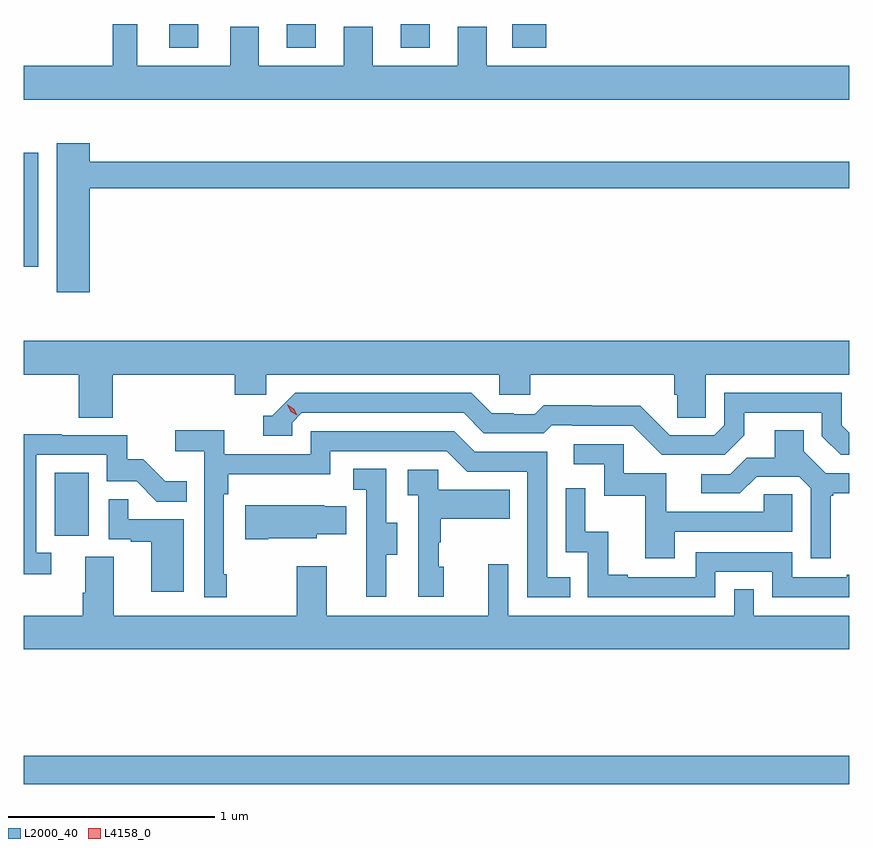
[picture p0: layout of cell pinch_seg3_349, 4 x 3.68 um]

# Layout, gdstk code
import gdstk
lib = gdstk.Library(unit=1e-6, precision=1e-09)
def R(c, l, rs):  # rectangles x0, y0, x1, y1
    for r in rs: c.add(gdstk.rectangle(r[:2], r[2:], *l))
def P(c, l, *ps):  # polygons
    for p in ps: c.add(gdstk.Polygon(p, *l))
L2000_40 = (2000, 40)
L4158_0 = (4158, 0)

pinch_seg3_349 = lib.new_cell('pinch_seg3_349')
R(pinch_seg3_349, L2000_40, [(972.806,701.596,976.806,701.732), (972.956,702.798,973.12,703.105), (972.806,704.103,972.876,704.654), (973.511,705.165,973.651,705.279), (974.081,705.165,974.221,705.279), (974.633,705.165,974.773,705.279), (975.173,705.165,975.338,705.279)])
P(pinch_seg3_349, L2000_40, [(976.806,705.076),(975.049,705.076),(975.049,705.266),(974.909,705.266),(974.909,705.076),(974.497,705.076),(974.497,705.266),(974.357,705.266),(974.357,705.076),(973.945,705.076),(973.945,705.266),(973.806,705.266),(973.806,705.076),(973.357,705.076),(973.357,705.279),(973.236,705.279),(973.236,705.076),(972.806,705.076),(972.806,704.912),(976.806,704.912)],
  [(973.126,704.482),(976.806,704.482),(976.806,704.611),(973.126,704.611),(973.126,704.701),(972.965,704.701),(972.965,703.98),(973.126,703.98)],
  [(973.238,703.58),(973.829,703.58),(973.829,703.482),(973.98,703.482),(973.98,703.58),(975.111,703.58),(975.111,703.482),(975.261,703.482),(975.261,703.58),(975.959,703.58),(975.959,703.482),(975.973,703.482),(975.973,703.372),(976.11,703.372),(976.11,703.58),(976.806,703.58),(976.806,703.744),(972.806,703.744),(972.806,703.58),(973.073,703.58),(973.073,703.372),(973.238,703.372)],
  [(976.297,703.285),(976.297,703.395),(976.674,703.395),(976.674,703.281),(976.764,703.191),(976.806,703.191),(976.806,703.299),(976.77,703.335),(976.77,703.491),(976.2,703.491),(976.2,703.335),(976.152,703.287),(975.936,703.287),(975.794,703.429),(975.558,703.429),(975.558,703.432),(975.325,703.432),(975.283,703.389),(975.18,703.389),(975.18,703.392),(975.073,703.392),(974.974,703.491),(974.121,703.491),(974.01,703.38),(973.967,703.38),(973.967,703.284),(974.106,703.284),(974.106,703.347),(974.154,703.395),(974.937,703.395),(975.036,703.296),(975.325,703.296),(975.364,703.335),(975.463,703.335),(975.463,703.332),(975.756,703.332),(975.897,703.191),(976.203,703.191)],
  [(973.789,702.613),(973.776,702.613),(973.776,703.001),(973.796,703.001),(973.796,703.097),(974.292,703.097),(974.292,703.209),(974.856,703.209),(974.955,703.11),(975.246,703.11),(975.246,702.501),(975.455,702.501),(975.455,702.597),(975.342,702.597),(975.342,703.206),(974.992,703.206),(974.893,703.305),(974.196,703.305),(974.196,703.194),(973.778,703.194),(973.778,703.31),(973.539,703.31),(973.539,703.208),(973.68,703.208),(973.68,702.501),(973.789,702.501)],
  [(976.717,702.993),(976.729,702.993),(976.729,703.004),(976.806,703.004),(976.806,703.101),(976.692,703.101),(976.585,703.208),(976.585,703.31),(976.445,703.31),(976.445,703.178),(976.31,703.178),(976.23,703.098),(976.089,703.098),(976.089,703.005),(976.276,703.005),(976.357,703.086),(976.563,703.086),(976.62,703.029),(976.62,702.69),(976.717,702.69)],
  [(972.94,702.717),(972.867,702.717),(972.867,703.191),(973.209,703.191),(973.209,703.062),(973.353,703.062),(973.451,702.964),(973.595,702.964),(973.595,703.063),(973.491,703.063),(973.384,703.17),(973.308,703.17),(973.308,703.287),(972.989,703.287),(972.989,703.292),(972.806,703.292),(972.806,702.612),(972.94,702.612)],
  [(975.961,702.819),(976.53,702.819),(976.53,702.999),(976.393,702.999),(976.393,702.915),(975.919,702.915),(975.919,703.101),(975.714,703.101),(975.714,703.242),(975.471,703.242),(975.471,703.146),(975.618,703.146),(975.618,702.993),(975.817,702.993),(975.817,702.69),(975.961,702.69)],
  [(974.563,702.706),(974.617,702.706),(974.617,702.861),(974.562,702.861),(974.562,703.124),(974.403,703.124),(974.403,703.021),(974.466,703.021),(974.466,702.717),(974.465,702.717),(974.465,702.504),(974.563,702.504)],
  [(974.842,702.648),(974.817,702.648),(974.817,702.767),(974.827,702.767),(974.827,702.881),(975.161,702.881),(975.161,703.021),(974.814,703.021),(974.814,703.119),(974.667,703.119),(974.667,702.995),(974.718,702.995),(974.718,702.504),(974.842,702.504)],
  [(976.158,702.624),(976.434,702.624),(976.434,702.501),(976.806,702.501),(976.806,702.61),(976.793,702.61),(976.793,702.597),(976.53,702.597),(976.53,702.72),(976.062,702.72),(976.062,702.597),(975.733,702.597),(975.733,702.61),(975.638,702.61),(975.638,702.818),(975.528,702.818),(975.528,703.03),(975.432,703.03),(975.432,702.72),(975.54,702.72),(975.54,702.501),(976.158,702.501)],
  [(973.582,702.879),(973.313,702.879),(973.313,702.977),(973.218,702.977),(973.218,702.783),(973.325,702.783),(973.325,702.771),(973.424,702.771),(973.424,702.528),(973.582,702.528)],
  [(973.99,702.788),(974.226,702.788),(974.226,702.806),(974.369,702.806),(974.369,702.943),(974.261,702.943),(974.261,702.946),(973.878,702.946),(973.878,702.781),(973.99,702.781)],
  [(976.806,702.412),(976.344,702.412),(976.344,702.539),(976.248,702.539),(976.248,702.412),(975.153,702.412),(975.153,702.661),(975.056,702.661),(975.056,702.412),(974.275,702.412),(974.275,702.652),(974.128,702.652),(974.128,702.412),(973.243,702.412),(973.243,702.698),(973.103,702.698),(973.103,702.524),(973.091,702.524),(973.091,702.412),(972.806,702.412),(972.806,702.248),(976.806,702.248)])
P(pinch_seg3_349, L4158_0, [(974.131,703.382),(974.1,703.401),(974.083,703.433),(974.083,703.434),(974.084,703.434),(974.114,703.414),(974.131,703.382),(974.131,703.382)])

lib.write_gds('pinch_seg3_349.gds')
